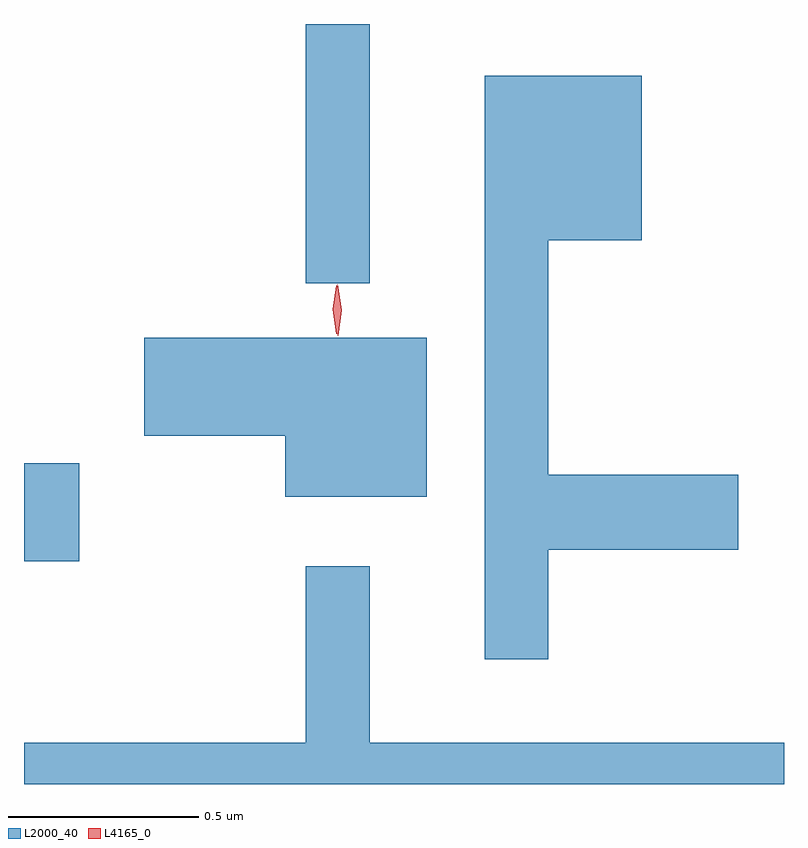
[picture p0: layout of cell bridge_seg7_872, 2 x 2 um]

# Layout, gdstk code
import gdstk
lib = gdstk.Library(unit=1e-6, precision=1e-09)
def R(c, l, rs):  # rectangles x0, y0, x1, y1
    for r in rs: c.add(gdstk.rectangle(r[:2], r[2:], *l))
def P(c, l, *ps):  # polygons
    for p in ps: c.add(gdstk.Polygon(p, *l))
L2000_40 = (2000, 40)
L4165_0 = (4165, 0)

bridge_seg7_872 = lib.new_cell('bridge_seg7_872')
R(bridge_seg7_872, L2000_40, [(250.129,1717.281,250.274,1717.539), (250.871,1718.013,251.039,1718.695)])
P(bridge_seg7_872, L2000_40, [(251.509,1717.311),(252.009,1717.311),(252.009,1717.509),(251.509,1717.509),(251.509,1718.126),(251.754,1718.126),(251.754,1718.559),(251.341,1718.559),(251.341,1717.023),(251.509,1717.023)],
  [(251.189,1717.869),(250.446,1717.869),(250.446,1717.611),(250.816,1717.611),(250.816,1717.451),(251.189,1717.451)],
  [(252.129,1716.804),(251.039,1716.804),(251.039,1717.268),(250.871,1717.268),(250.871,1716.804),(250.129,1716.804),(250.129,1716.695),(252.129,1716.695)])
P(bridge_seg7_872, L4165_0, [(250.955,1717.874),(250.955,1717.874),(250.945,1717.942),(250.954,1718.01),(250.955,1718.01),(250.955,1718.01),(250.965,1717.942),(250.956,1717.874)],
  [(250.951,1717.88),(250.942,1717.944),(250.951,1718.006),(250.952,1718.007),(250.952,1718.006),(250.962,1717.944),(250.952,1717.88),(250.952,1717.88)])

lib.write_gds('bridge_seg7_872.gds')
